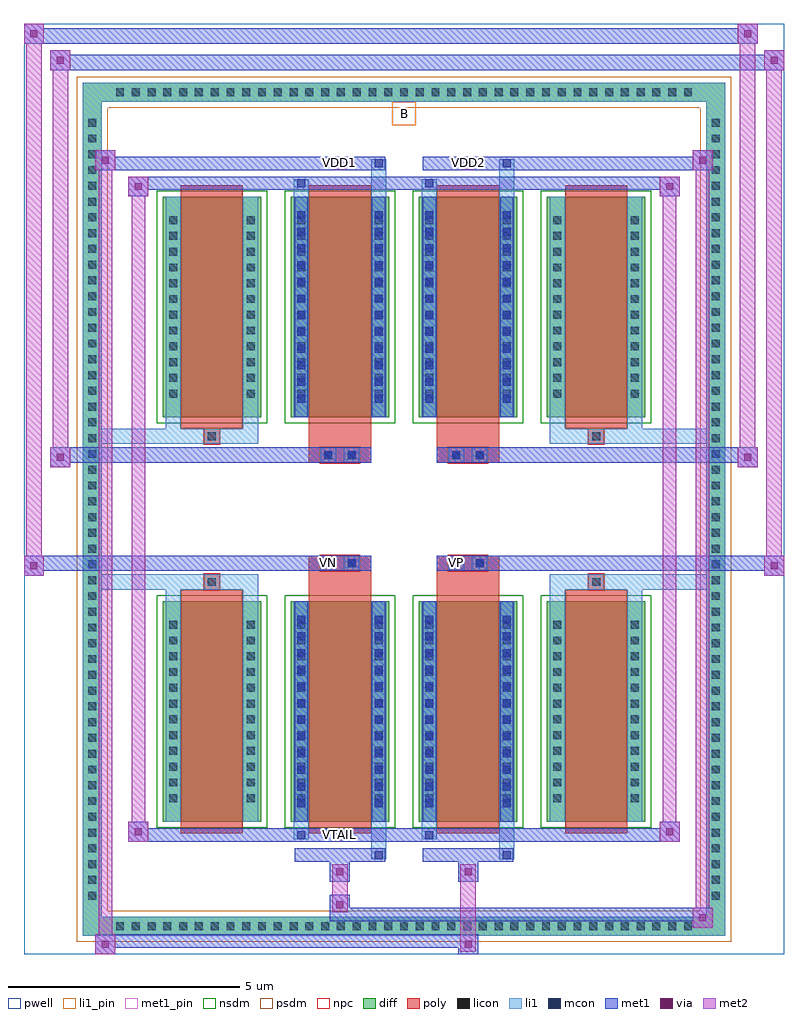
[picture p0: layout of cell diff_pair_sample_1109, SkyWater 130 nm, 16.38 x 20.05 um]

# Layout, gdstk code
import gdstk
lib = gdstk.Library(unit=1e-6, precision=5e-09)
def R(c, l, rs):  # rectangles x0, y0, x1, y1
    for r in rs: c.add(gdstk.rectangle(r[:2], r[2:], *l))
def A(c, l, x, y, w, h, nx, ny, dx, dy):  # array of equal rectangles
    R(c, l, [(x+i*dx, y+j*dy, x+i*dx+w, y+j*dy+h) for i in range(nx) for j in range(ny)])
def P(c, l, *ps):  # polygons
    for p in ps: c.add(gdstk.Polygon(p, *l))
pwell = (64, 44)
diff = (65, 20)
poly = (66, 20)
licon = (66, 44)
li1_pin = (67, 16)
li1 = (67, 20)
mcon = (67, 44)
met1_pin = (68, 16)
met1 = (68, 20)
via = (68, 44)
met2 = (69, 20)
nsdm = (93, 44)
psdm = (94, 20)
npc = (95, 20)

diff_pair_sample_1109 = lib.new_cell('diff_pair_sample_1109')
R(diff_pair_sample_1109, pwell, [(-8.19,-9.59,8.19,10.46), (-5.51,-7.78,-0.01,-0.8), (0.01,-7.78,5.51,-0.8), (-5.51,0.8,-0.01,7.78), (0.01,0.8,5.51,7.78)])
A(diff_pair_sample_1109, diff, -6.325, -9.19, 0.41, 0.41, 37, 2, 0.34, 17.97)
A(diff_pair_sample_1109, diff, -6.92, -8.535, 0.41, 0.41, 1, 50, 0, 0.34)
A(diff_pair_sample_1109, diff, 6.51, -8.535, 0.41, 0.41, 1, 50, 0, 0.34)
A(diff_pair_sample_1109, diff, -5.2, -6.735, 2.12, 4.75, 4, 2, 2.76, 8.72)
R(diff_pair_sample_1109, diff, [(-6.325,-9.19,6.325,-8.78), (-6.92,-8.535,-6.51,8.535), (6.51,-8.535,6.92,8.535), (-6.325,8.78,6.325,9.19)])
P(diff_pair_sample_1109, diff, [(6.92,9.19),(-6.92,9.19),(-6.92,-8.78),(-6.51,-8.78),(-6.51,8.78),(6.51,8.78),(6.51,-8.78),(-6.51,-8.78),(-6.92,-8.78),(-6.92,-9.19),(6.92,-9.19)])
A(diff_pair_sample_1109, poly, -4.81, -6.985, 1.34, 5.25, 4, 2, 2.76, 8.72)
R(diff_pair_sample_1109, poly, [(-4.305,-1.735,-3.975,-1.405), (-4.305,-1.735,-3.975,-1.405), (-2.05,-1.735,-0.71,-1.33), (0.71,-1.735,2.05,-1.33), (3.975,-1.735,4.305,-1.405), (3.975,-1.735,4.305,-1.405), (-2.05,-1.33,-0.71,-1), (-1.795,-1.33,-1.465,-1), (-1.295,-1.33,-0.965,-1), (0.71,-1.33,2.05,-1), (0.965,-1.33,1.295,-1), (1.465,-1.33,1.795,-1), (-2.05,1,-0.71,1.33), (-1.795,1,-1.465,1.33), (-1.295,1,-0.965,1.33), (0.71,1,2.05,1.33), (0.965,1,1.295,1.33), (1.465,1,1.795,1.33), (-2.05,1.33,-0.71,1.735), (0.71,1.33,2.05,1.735), (-4.305,1.405,-3.975,1.735), (-4.305,1.405,-3.975,1.735), (3.975,1.405,4.305,1.735), (3.975,1.405,4.305,1.735)])
A(diff_pair_sample_1109, licon, -6.205, -9.07, 0.17, 0.17, 37, 2, 0.34, 17.97)
A(diff_pair_sample_1109, licon, -6.8, -8.415, 0.17, 0.17, 1, 50, 0, 0.34)
A(diff_pair_sample_1109, licon, 6.63, -8.415, 0.17, 0.17, 1, 50, 0, 0.34)
A(diff_pair_sample_1109, licon, -5.06, -6.315, 0.17, 0.17, 1, 12, 0, 0.34)
A(diff_pair_sample_1109, licon, -3.39, -6.315, 0.17, 0.17, 1, 12, 0, 0.34)
A(diff_pair_sample_1109, licon, -2.3, -6.315, 0.17, 0.17, 1, 12, 0, 0.34)
A(diff_pair_sample_1109, licon, -0.63, -6.315, 0.17, 0.17, 1, 12, 0, 0.34)
A(diff_pair_sample_1109, licon, 0.46, -6.315, 0.17, 0.17, 1, 12, 0, 0.34)
A(diff_pair_sample_1109, licon, 2.13, -6.315, 0.17, 0.17, 1, 12, 0, 0.34)
A(diff_pair_sample_1109, licon, 3.22, -6.315, 0.17, 0.17, 1, 12, 0, 0.34)
A(diff_pair_sample_1109, licon, 4.89, -6.315, 0.17, 0.17, 1, 12, 0, 0.34)
A(diff_pair_sample_1109, licon, -5.06, 2.405, 0.17, 0.17, 1, 12, 0, 0.34)
A(diff_pair_sample_1109, licon, -3.39, 2.405, 0.17, 0.17, 1, 12, 0, 0.34)
A(diff_pair_sample_1109, licon, -2.3, 2.405, 0.17, 0.17, 1, 12, 0, 0.34)
A(diff_pair_sample_1109, licon, -0.63, 2.405, 0.17, 0.17, 1, 12, 0, 0.34)
A(diff_pair_sample_1109, licon, 0.46, 2.405, 0.17, 0.17, 1, 12, 0, 0.34)
A(diff_pair_sample_1109, licon, 2.13, 2.405, 0.17, 0.17, 1, 12, 0, 0.34)
A(diff_pair_sample_1109, licon, 3.22, 2.405, 0.17, 0.17, 1, 12, 0, 0.34)
A(diff_pair_sample_1109, licon, 4.89, 2.405, 0.17, 0.17, 1, 12, 0, 0.34)
R(diff_pair_sample_1109, licon, [(-4.225,-1.655,-4.055,-1.485), (4.055,-1.655,4.225,-1.485), (-1.715,-1.25,-1.545,-1.08), (-1.215,-1.25,-1.045,-1.08), (1.045,-1.25,1.215,-1.08), (1.545,-1.25,1.715,-1.08), (-1.715,1.08,-1.545,1.25), (-1.215,1.08,-1.045,1.25), (1.045,1.08,1.215,1.25), (1.545,1.08,1.715,1.25), (-4.225,1.485,-4.055,1.655), (4.055,1.485,4.225,1.655)])
R(diff_pair_sample_1109, li1_pin, [(-0.25,8.28,0.25,8.78)])
A(diff_pair_sample_1109, li1, -6.285, -9.15, 0.33, 0.33, 37, 2, 0.34, 17.97)
A(diff_pair_sample_1109, li1, -6.88, -8.495, 0.33, 0.33, 1, 50, 0, 0.34)
A(diff_pair_sample_1109, li1, 6.55, -8.495, 0.33, 0.33, 1, 50, 0, 0.34)
A(diff_pair_sample_1109, li1, -2.3, -6.425, 0.17, 0.17, 1, 12, 0, 0.36)
A(diff_pair_sample_1109, li1, -0.63, -6.425, 0.17, 0.17, 1, 12, 0, 0.36)
A(diff_pair_sample_1109, li1, 0.46, -6.425, 0.17, 0.17, 1, 12, 0, 0.36)
A(diff_pair_sample_1109, li1, 2.13, -6.425, 0.17, 0.17, 1, 12, 0, 0.36)
A(diff_pair_sample_1109, li1, -5.14, -6.395, 0.33, 0.33, 1, 12, 0, 0.34)
A(diff_pair_sample_1109, li1, -3.47, -6.395, 0.33, 0.33, 1, 12, 0, 0.34)
A(diff_pair_sample_1109, li1, -2.38, -6.395, 0.33, 0.33, 1, 12, 0, 0.34)
A(diff_pair_sample_1109, li1, -0.71, -6.395, 0.33, 0.33, 1, 12, 0, 0.34)
A(diff_pair_sample_1109, li1, 0.38, -6.395, 0.33, 0.33, 1, 12, 0, 0.34)
A(diff_pair_sample_1109, li1, 2.05, -6.395, 0.33, 0.33, 1, 12, 0, 0.34)
A(diff_pair_sample_1109, li1, 3.14, -6.395, 0.33, 0.33, 1, 12, 0, 0.34)
A(diff_pair_sample_1109, li1, 4.81, -6.395, 0.33, 0.33, 1, 12, 0, 0.34)
A(diff_pair_sample_1109, li1, -2.3, 2.295, 0.17, 0.17, 1, 12, 0, 0.36)
A(diff_pair_sample_1109, li1, -0.63, 2.295, 0.17, 0.17, 1, 12, 0, 0.36)
A(diff_pair_sample_1109, li1, 0.46, 2.295, 0.17, 0.17, 1, 12, 0, 0.36)
A(diff_pair_sample_1109, li1, 2.13, 2.295, 0.17, 0.17, 1, 12, 0, 0.36)
A(diff_pair_sample_1109, li1, -5.14, 2.325, 0.33, 0.33, 1, 12, 0, 0.34)
A(diff_pair_sample_1109, li1, -3.47, 2.325, 0.33, 0.33, 1, 12, 0, 0.34)
A(diff_pair_sample_1109, li1, -2.38, 2.325, 0.33, 0.33, 1, 12, 0, 0.34)
A(diff_pair_sample_1109, li1, -0.71, 2.325, 0.33, 0.33, 1, 12, 0, 0.34)
A(diff_pair_sample_1109, li1, 0.38, 2.325, 0.33, 0.33, 1, 12, 0, 0.34)
A(diff_pair_sample_1109, li1, 2.05, 2.325, 0.33, 0.33, 1, 12, 0, 0.34)
A(diff_pair_sample_1109, li1, 3.14, 2.325, 0.33, 0.33, 1, 12, 0, 0.34)
A(diff_pair_sample_1109, li1, 4.81, 2.325, 0.33, 0.33, 1, 12, 0, 0.34)
R(diff_pair_sample_1109, li1, [(-6.92,-9.19,-6.51,-8.78), (-6.92,-9.19,-6.51,-8.78), (-6.51,-9.19,6.51,-8.78), (6.51,-9.19,6.92,-8.78), (6.51,-9.19,6.92,-8.78), (-6.92,-8.78,-6.51,8.78), (6.51,-8.78,6.92,8.78), (-0.71,-7.54,-0.38,-6.735), (-0.63,-7.54,-0.46,-7.37), (2.05,-7.54,2.38,-6.735), (2.13,-7.54,2.3,-7.37), (-2.38,-7.11,-2.05,-6.735), (-2.3,-7.11,-2.13,-6.94), (0.38,-7.11,0.71,-6.735), (0.46,-7.11,0.63,-6.94), (-5.14,-6.735,-4.81,-1.985), (-3.47,-6.735,-3.14,-1.985), (-2.38,-6.735,-2.05,-1.985), (-0.71,-6.735,-0.38,-1.985), (0.38,-6.735,0.71,-1.985), (2.05,-6.735,2.38,-1.985), (3.14,-6.735,3.47,-1.985), (4.81,-6.735,5.14,-1.985), (-2.3,-6.425,-2.13,-2.295), (-0.63,-6.425,-0.46,-2.295), (0.46,-6.425,0.63,-2.295), (2.13,-6.425,2.3,-2.295), (-5.14,-1.985,-4.81,-1.405), (-3.47,-1.985,-3.14,-1.405), (3.14,-1.985,3.47,-1.405), (4.81,-1.985,5.14,-1.405), (-6.92,-1.735,-4.305,-1.405), (-5.14,-1.735,-4.305,-1.405), (-4.305,-1.735,-3.975,-1.405), (-3.975,-1.735,-3.14,-1.405), (3.14,-1.735,3.975,-1.405), (3.975,-1.735,4.305,-1.405), (3.975,-1.735,6.92,-1.405), (4.305,-1.735,5.14,-1.405), (-1.795,-1.33,-1.465,-1), (-1.295,-1.33,-0.965,-1), (0.965,-1.33,1.295,-1), (1.465,-1.33,1.795,-1), (-1.795,1,-1.465,1.33), (-1.295,1,-0.965,1.33), (0.965,1,1.295,1.33), (1.465,1,1.795,1.33), (-6.92,1.405,-4.305,1.735), (-5.14,1.405,-4.305,1.735), (-5.14,1.405,-4.81,1.985), (-4.305,1.405,-3.975,1.735), (-3.975,1.405,-3.14,1.735), (-3.47,1.405,-3.14,1.985), (3.14,1.405,3.975,1.735), (3.14,1.405,3.47,1.985), (3.975,1.405,4.305,1.735), (3.975,1.405,6.92,1.735), (4.305,1.405,5.14,1.735), (4.81,1.405,5.14,1.985), (-5.14,1.985,-4.81,6.735), (-3.47,1.985,-3.14,6.735), (-2.38,1.985,-2.05,6.735), (-0.71,1.985,-0.38,6.735), (0.38,1.985,0.71,6.735), (2.05,1.985,2.38,6.735), (3.14,1.985,3.47,6.735), (4.81,1.985,5.14,6.735), (-2.3,2.295,-2.13,6.425), (-0.63,2.295,-0.46,6.425), (0.46,2.295,0.63,6.425), (2.13,2.295,2.3,6.425), (-2.38,6.735,-2.05,7.11), (-0.71,6.735,-0.38,7.54), (0.38,6.735,0.71,7.11), (2.05,6.735,2.38,7.54), (-2.3,6.94,-2.13,7.11), (0.46,6.94,0.63,7.11), (-0.63,7.37,-0.46,7.54), (2.13,7.37,2.3,7.54), (-6.92,8.78,-6.51,9.19), (-6.92,8.78,-6.51,9.19), (-6.51,8.78,6.51,9.19), (6.51,8.78,6.92,9.19), (6.51,8.78,6.92,9.19)])
A(diff_pair_sample_1109, mcon, -2.3, -6.425, 0.17, 0.17, 1, 12, 0, 0.36)
A(diff_pair_sample_1109, mcon, -0.63, -6.425, 0.17, 0.17, 1, 12, 0, 0.36)
A(diff_pair_sample_1109, mcon, 0.46, -6.425, 0.17, 0.17, 1, 12, 0, 0.36)
A(diff_pair_sample_1109, mcon, 2.13, -6.425, 0.17, 0.17, 1, 12, 0, 0.36)
A(diff_pair_sample_1109, mcon, -2.3, 2.295, 0.17, 0.17, 1, 12, 0, 0.36)
A(diff_pair_sample_1109, mcon, -0.63, 2.295, 0.17, 0.17, 1, 12, 0, 0.36)
A(diff_pair_sample_1109, mcon, 0.46, 2.295, 0.17, 0.17, 1, 12, 0, 0.36)
A(diff_pair_sample_1109, mcon, 2.13, 2.295, 0.17, 0.17, 1, 12, 0, 0.36)
R(diff_pair_sample_1109, mcon, [(-0.63,-7.54,-0.46,-7.37), (2.13,-7.54,2.3,-7.37), (-2.3,-7.11,-2.13,-6.94), (0.46,-7.11,0.63,-6.94), (-1.715,-1.25,-1.545,-1.08), (-1.215,-1.25,-1.045,-1.08), (1.045,-1.25,1.215,-1.08), (1.545,-1.25,1.715,-1.08), (-1.715,1.08,-1.545,1.25), (-1.215,1.08,-1.045,1.25), (1.045,1.08,1.215,1.25), (1.545,1.08,1.715,1.25), (-2.3,6.94,-2.13,7.11), (0.46,6.94,0.63,7.11), (-0.63,7.37,-0.46,7.54), (2.13,7.37,2.3,7.54)])
R(diff_pair_sample_1109, met1_pin, [(-1.515,-7.15,-1.245,-6.88), (-1.765,-1.29,-1.495,-1.02), (0.995,-1.29,1.265,-1.02), (-1.515,7.33,-1.245,7.6), (1.245,7.33,1.515,7.6)])
A(diff_pair_sample_1109, met1, -2.36, -6.485, 0.29, 0.29, 1, 12, 0, 0.36)
A(diff_pair_sample_1109, met1, -0.69, -6.485, 0.29, 0.29, 1, 12, 0, 0.36)
A(diff_pair_sample_1109, met1, 0.4, -6.485, 0.29, 0.29, 1, 12, 0, 0.36)
A(diff_pair_sample_1109, met1, 2.07, -6.485, 0.29, 0.29, 1, 12, 0, 0.36)
A(diff_pair_sample_1109, met1, -2.36, 2.235, 0.29, 0.29, 1, 12, 0, 0.36)
A(diff_pair_sample_1109, met1, -0.69, 2.235, 0.29, 0.29, 1, 12, 0, 0.36)
A(diff_pair_sample_1109, met1, 0.4, 2.235, 0.29, 0.29, 1, 12, 0, 0.36)
A(diff_pair_sample_1109, met1, 2.07, 2.235, 0.29, 0.29, 1, 12, 0, 0.36)
R(diff_pair_sample_1109, met1, [(-6.65,-9.59,-6.22,-9.16), (1.165,-9.59,1.595,-9.16), (-6.65,-9.45,1.595,-9.16), (6.22,-9.02,6.65,-8.59), (-1.595,-8.88,6.65,-8.59), (-1.595,-8.74,-1.165,-8.31), (-1.595,-8.03,-1.165,-7.6), (1.165,-8.03,1.595,-7.6), (-2.36,-7.6,-0.4,-7.31), (-0.69,-7.6,-0.4,-7.31), (0.4,-7.6,2.36,-7.31), (2.07,-7.6,2.36,-7.31), (-5.94,-7.17,-5.51,-6.74), (-5.94,-7.17,-2.36,-6.88), (-2.36,-7.17,-2.07,-6.88), (-2.36,-7.17,-0.4,-6.88), (-0.4,-7.17,0.4,-6.88), (0.4,-7.17,0.69,-6.88), (0.4,-7.17,2.36,-6.88), (2.36,-7.17,5.94,-6.88), (5.51,-7.17,5.94,-6.74), (-2.36,-6.735,-2.07,-1.985), (-0.69,-6.735,-0.4,-1.985), (0.4,-6.735,0.69,-1.985), (2.07,-6.735,2.36,-1.985), (-8.19,-1.43,-7.76,-1), (7.76,-1.43,8.19,-1), (-8.19,-1.33,-0.71,-1), (-2.05,-1.33,-0.71,-1), (0.71,-1.33,2.05,-1), (0.71,-1.33,8.19,-1), (-1.775,-1.31,-1.485,-1.02), (-1.275,-1.31,-0.985,-1.02), (0.985,-1.31,1.275,-1.02), (1.485,-1.31,1.775,-1.02), (-7.62,0.9,-7.19,1.33), (7.19,0.9,7.62,1.33), (-7.62,1,-2.05,1.33), (-2.05,1,-0.71,1.33), (0.71,1,2.05,1.33), (2.05,1,7.62,1.33), (-1.775,1.02,-1.485,1.31), (-1.275,1.02,-0.985,1.31), (0.985,1.02,1.275,1.31), (1.485,1.02,1.775,1.31), (-2.36,1.985,-2.07,6.735), (-0.69,1.985,-0.4,6.735), (0.4,1.985,0.69,6.735), (2.07,1.985,2.36,6.735), (-5.94,6.74,-5.51,7.17), (5.51,6.74,5.94,7.17), (-5.94,6.88,-2.36,7.17), (-2.36,6.88,-2.07,7.17), (-2.36,6.88,-0.4,7.17), (-0.4,6.88,0.4,7.17), (0.4,6.88,0.69,7.17), (0.4,6.88,2.36,7.17), (2.36,6.88,5.94,7.17), (-6.65,7.31,-6.22,7.74), (-6.65,7.31,-2.36,7.6), (-2.36,7.31,-0.4,7.6), (-0.69,7.31,-0.4,7.6), (0.4,7.31,2.36,7.6), (2.07,7.31,2.36,7.6), (2.36,7.31,6.65,7.6), (6.22,7.31,6.65,7.74), (-7.62,9.46,-7.19,9.89), (-7.62,9.46,-5.51,9.79), (-5.51,9.46,5.51,9.79), (5.51,9.46,8.19,9.79), (7.76,9.46,8.19,9.89), (-8.19,10.03,-7.76,10.46), (-8.19,10.03,-5.51,10.36), (-5.51,10.03,5.51,10.36), (5.51,10.03,7.62,10.36), (7.19,10.03,7.62,10.46)])
R(diff_pair_sample_1109, via, [(-6.51,-9.45,-6.36,-9.3), (1.305,-9.45,1.455,-9.3), (6.36,-8.88,6.51,-8.73), (-1.455,-8.6,-1.305,-8.45), (-1.455,-7.89,-1.305,-7.74), (1.305,-7.89,1.455,-7.74), (-5.8,-7.03,-5.65,-6.88), (5.65,-7.03,5.8,-6.88), (-8.05,-1.29,-7.9,-1.14), (7.9,-1.29,8.05,-1.14), (-7.48,1.04,-7.33,1.19), (7.33,1.04,7.48,1.19), (-5.8,6.88,-5.65,7.03), (5.65,6.88,5.8,7.03), (-6.51,7.45,-6.36,7.6), (6.36,7.45,6.51,7.6), (-7.48,9.6,-7.33,9.75), (7.9,9.6,8.05,9.75), (-8.05,10.17,-7.9,10.32), (7.33,10.17,7.48,10.32)])
R(diff_pair_sample_1109, met2, [(-6.65,-9.59,-6.22,-9.16), (-6.58,-9.59,-6.29,7.74), (-6.29,-9.59,-6.22,-9.16), (-6.6,-9.54,-6.27,-9.21), (1.215,-9.54,1.545,-9.21), (1.215,-9.21,1.545,-7.98), (6.22,-9.02,6.65,-8.59), (6.29,-9.02,6.58,7.74), (6.58,-9.02,6.65,-8.59), (6.27,-8.97,6.6,-8.64), (-1.545,-8.69,-1.215,-8.36), (-1.545,-8.36,-1.215,-7.98), (-1.545,-7.98,-1.215,-7.65), (1.215,-7.98,1.545,-7.65), (-5.94,-7.17,-5.51,-6.74), (-5.87,-7.17,-5.58,7.17), (-5.58,-7.17,-5.51,-6.74), (5.51,-7.17,5.94,-6.74), (5.58,-7.17,5.87,7.17), (5.87,-7.17,5.94,-6.74), (-5.89,-7.12,-5.56,-6.79), (5.56,-7.12,5.89,-6.79), (-8.19,-1.43,-7.76,-1), (-8.14,-1.43,-7.81,10.46), (-7.81,-1.43,-7.76,-1), (7.76,-1.43,8.19,-1), (7.81,-1.43,8.14,9.89), (8.14,-1.43,8.19,-1), (-8.14,-1.38,-7.81,-1.05), (7.81,-1.38,8.14,-1.05), (-7.62,0.9,-7.19,1.33), (-7.57,0.9,-7.24,9.89), (-7.24,0.9,-7.19,1.33), (7.19,0.9,7.62,1.33), (7.24,0.9,7.57,10.46), (7.57,0.9,7.62,1.33), (-7.57,0.95,-7.24,1.28), (7.24,0.95,7.57,1.28), (-5.94,6.74,-5.51,7.17), (-5.58,6.74,-5.51,7.17), (5.51,6.74,5.94,7.17), (5.87,6.74,5.94,7.17), (-5.89,6.79,-5.56,7.12), (5.56,6.79,5.89,7.12), (-6.65,7.31,-6.22,7.74), (-6.29,7.31,-6.22,7.74), (6.22,7.31,6.65,7.74), (6.58,7.31,6.65,7.74), (-6.6,7.36,-6.27,7.69), (6.27,7.36,6.6,7.69), (-7.62,9.46,-7.19,9.89), (-7.24,9.46,-7.19,9.89), (7.76,9.46,8.19,9.89), (8.14,9.46,8.19,9.89), (-7.57,9.51,-7.24,9.84), (7.81,9.51,8.14,9.84), (-8.19,10.03,-7.76,10.46), (-7.81,10.03,-7.76,10.46), (7.19,10.03,7.62,10.46), (7.57,10.03,7.62,10.46), (-8.14,10.08,-7.81,10.41), (7.24,10.08,7.57,10.41)])
A(diff_pair_sample_1109, nsdm, -5.33, -6.865, 2.38, 5.01, 4, 2, 2.76, 8.72)
P(diff_pair_sample_1109, psdm, [(7.05,9.32),(-7.05,9.32),(-7.05,-8.65),(-6.38,-8.65),(-6.38,8.65),(6.38,8.65),(6.38,-8.65),(-6.38,-8.65),(-7.05,-8.65),(-7.05,-9.32),(7.05,-9.32)])
R(diff_pair_sample_1109, npc, [(-4.325,-1.755,-3.955,-1.385), (3.955,-1.755,4.325,-1.385), (-1.815,-1.35,-1.445,-0.98), (-1.815,-1.35,-0.945,-0.98), (-1.815,-1.35,-0.945,-0.98), (-1.315,-1.35,-0.945,-0.98), (0.945,-1.35,1.315,-0.98), (0.945,-1.35,1.815,-0.98), (0.945,-1.35,1.815,-0.98), (1.445,-1.35,1.815,-0.98), (-1.815,0.98,-1.445,1.35), (-1.815,0.98,-0.945,1.35), (-1.815,0.98,-0.945,1.35), (-1.315,0.98,-0.945,1.35), (0.945,0.98,1.315,1.35), (0.945,0.98,1.815,1.35), (0.945,0.98,1.815,1.35), (1.445,0.98,1.815,1.35), (-4.325,1.385,-3.955,1.755), (3.955,1.385,4.325,1.755)])
diff_pair_sample_1109.add(gdstk.Label('VTAIL', (-1.38,-7.015), layer=68, texttype=5))
diff_pair_sample_1109.add(gdstk.Label('VN', (-1.63,-1.155), layer=68, texttype=5))
diff_pair_sample_1109.add(gdstk.Label('VP', (1.13,-1.155), layer=68, texttype=5))
diff_pair_sample_1109.add(gdstk.Label('B', (0,8.53), layer=67, texttype=5))
diff_pair_sample_1109.add(gdstk.Label('VDD2', (1.38,7.465), layer=68, texttype=5))
diff_pair_sample_1109.add(gdstk.Label('VDD1', (-1.38,7.465), layer=68, texttype=5))

lib.write_gds('diff_pair_sample_1109.gds')
